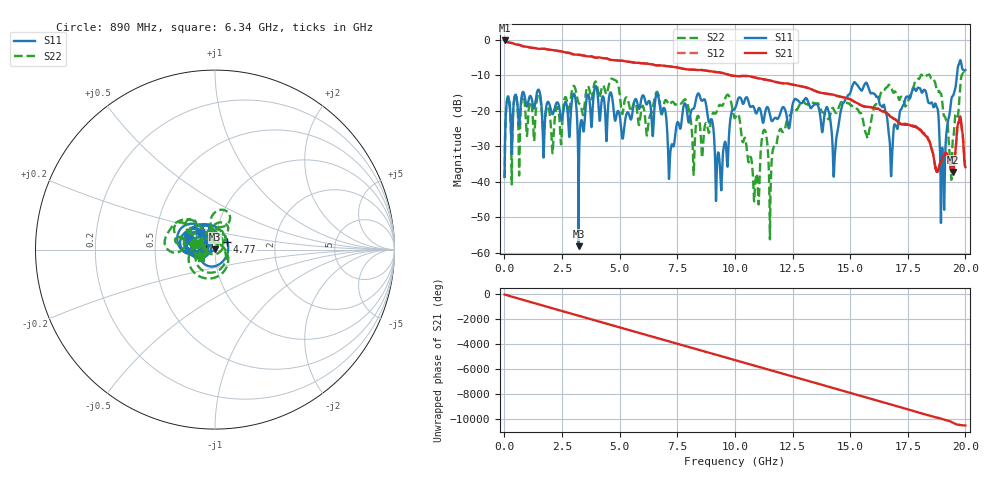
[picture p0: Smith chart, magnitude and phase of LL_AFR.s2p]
!Keysight	Technologies	PLTS	2019	Build	20190114.1
!Deembedding/AFR	applied
!FILE:	C:\Users\Adv.Develop-SI	LAB\Desktop\New	folder	(2)\New	folder\LL.s4p
!$DUT	CFG	DESC:	Default	4-Port	Configuration
!$NUMBER	PORTS:	4
!$DIFF	PORT	MAP:	1|2P|2|2P|0|UC|0|UC|
!$PORT	MAP:	1|1|<<<<<<|2|2|>>>>>>|3|3|<<<<<<|4|4|>>>>>>|
!Date:	Tuesday	January	19	2021	5:03:33
!S2P	File:	Measurements:	SDD11	SDD12	SDD21	SDD22:
#	MHz	S	DB	R	50
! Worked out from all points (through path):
!   2000 points, 10 MHz to 20 GHz, reference 50 ohm
!   highest |S21| = -0.13 dB at 10 MHz (marker M1); lowest = -37.2 dB at 19.47 GHz (marker M2)
!   group delay of S21, straight-line fit = 1.46 ns
!   lowest |S11| = -58.1 dB at 3.22 GHz (marker M3), VSWR 1.00, Z = 49.9 + j0.0817 ohm
!   |S11| at or under -10 dB: start of sweep to 19.63 GHz
!   |S22| runs from -56.2 to -9.2 dB; largest |S21 - S12| = 0.0025
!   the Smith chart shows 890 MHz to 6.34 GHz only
!   S11 on the Smith chart (normalised r, x): 890 MHz: 0.74, +0.09; 4.77 GHz: 1.14, +0.10; 6.34 GHz: 0.84, +0.15
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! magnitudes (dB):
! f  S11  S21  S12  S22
! 10 MHz  -38.5  -0.1  -0.1  -39.0
! 890 MHz  -16.2  -1.8  -1.8  -18.4
! 3.22 GHz  -58.1  -4.1  -4.1  -17.7
! 3.35 GHz  -22.6  -4.3  -4.3  -19.3
! 4.77 GHz  -21.7  -5.7  -5.7  -11.2
! 6.34 GHz  -18.5  -6.8  -6.8  -20.9
! 6.68 GHz  -16.0  -7.2  -7.2  -15.3
! 7.2 GHz  -31.7  -7.5  -7.5  -17.9
! 8.65 GHz  -16.8  -8.5  -8.5  -26.7
! 9.38 GHz  -39.4  -9.2  -9.2  -18.4
! 10.01 GHz  -19.2  -10.1  -10.1  -22.0
! 10.94 GHz  -20.7  -10.7  -10.7  -37.7
! 11.26 GHz  -22.5  -11.1  -11.1  -25.3
! 11.54 GHz  -21.6  -11.4  -11.4  -45.3
! 13.34 GHz  -18.9  -13.9  -13.9  -17.6
! 14.32 GHz  -34.3  -15.5  -15.5  -20.0
! 15.74 GHz  -12.4  -18.9  -18.9  -27.5
! 16.67 GHz  -26.2  -21.1  -21.0  -12.6
! 18.23 GHz  -14.0  -26.7  -26.6  -10.3
! 19.02 GHz  -32.1  -32.8  -32.7  -19.1
! 19.47 GHz  -15.6  -37.2  -37.2  -27.2
! 20 GHz  -8.5  -35.9  -35.6  -10.2
